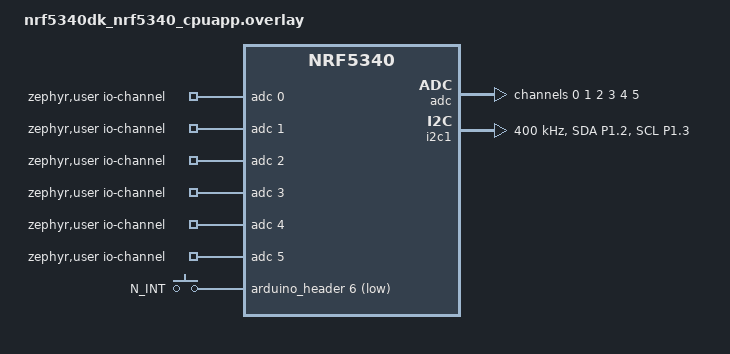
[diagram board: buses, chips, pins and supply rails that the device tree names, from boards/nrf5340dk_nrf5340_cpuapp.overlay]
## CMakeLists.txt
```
# Copyright (c) 2022, Nordic Semiconductor ASA
# All rights reserved.
#
# SPDX-License-Identifier: BSD-3-Clause
#
# Redistribution and use in source and binary forms, with or without
# modification, are permitted provided that the following conditions are met:
#
# 1. Redistributions of source code must retain the above copyright notice, this
#    list of conditions and the following disclaimer.
#
# 2. Redistributions in binary form must reproduce the above copyright
#    notice, this list of conditions and the following disclaimer in the
#    documentation and/or other materials provided with the distribution.
#
# 3. Neither the name of the copyright holder nor the names of its
#    contributors may be used to endorse or promote products derived from this
#    software without specific prior written permission.
#
# THIS SOFTWARE IS PROVIDED BY THE COPYRIGHT HOLDERS AND CONTRIBUTORS "AS IS"
# AND ANY EXPRESS OR IMPLIED WARRANTIES, INCLUDING, BUT NOT LIMITED TO, THE
# IMPLIED WARRANTIES OF MERCHANTABILITY AND FITNESS FOR A PARTICULAR PURPOSE
# ARE DISCLAIMED. IN NO EVENT SHALL THE COPYRIGHT HOLDER OR CONTRIBUTORS BE
# LIABLE FOR ANY DIRECT, INDIRECT, INCIDENTAL, SPECIAL, EXEMPLARY, OR
# CONSEQUENTIAL DAMAGES (INCLUDING, BUT NOT LIMITED TO, PROCUREMENT OF
# SUBSTITUTE GOODS OR SERVICES; LOSS OF USE, DATA, OR PROFITS; OR BUSINESS
# INTERRUPTION) HOWEVER CAUSED AND ON ANY THEORY OF LIABILITY, WHETHER IN
# CONTRACT, STRICT LIABILITY, OR TORT (INCLUDING NEGLIGENCE OR OTHERWISE)
# ARISING IN ANY WAY OUT OF THE USE OF THIS SOFTWARE, EVEN IF ADVISED OF THE
# POSSIBILITY OF SUCH DAMAGE.

cmake_minimum_required(VERSION 3.20.0)

find_package(Zephyr REQUIRED HINTS $ENV{ZEPHYR_BASE})
project(NONE)

# NORDIC SDK APP START
target_sources(app PRIVATE
  src/main.c
)
# NORDIC SDK APP END
```

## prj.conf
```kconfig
CONFIG_ZTEST=y
CONFIG_ZTEST_FAIL_FAST=n

CONFIG_I2C=y
CONFIG_GPIO=y
CONFIG_ADC=y

CONFIG_LIB_NPM6001=y
CONFIG_LIB_NPM6001_C3_WORKAROUND=y
```

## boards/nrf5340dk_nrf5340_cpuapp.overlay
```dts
/ {
	zephyr,user {
		io-channels = <&adc 0>, <&adc 1>, <&adc 2>, <&adc 3>, <&adc 4>, <&adc 5>;
	};
};

&adc {
	#address-cells = <1>;
	#size-cells = <0>;

	channel@0 {
		reg = <0>;
		zephyr,gain = "ADC_GAIN_1_6";
		zephyr,reference = "ADC_REF_INTERNAL";
		zephyr,acquisition-time = <ADC_ACQ_TIME_DEFAULT>;
		zephyr,input-positive = <NRF_SAADC_AIN0>; /* P0.04 */
		zephyr,resolution = <12>;
	};

	channel@1 {
		reg = <1>;
		zephyr,gain = "ADC_GAIN_1_6";
		zephyr,reference = "ADC_REF_INTERNAL";
		zephyr,acquisition-time = <ADC_ACQ_TIME_DEFAULT>;
		zephyr,input-positive = <NRF_SAADC_AIN1>; /* P0.05 */
		zephyr,resolution = <12>;
	};

	channel@2 {
		reg = <2>;
		zephyr,gain = "ADC_GAIN_1_6";
		zephyr,reference = "ADC_REF_INTERNAL";
		zephyr,acquisition-time = <ADC_ACQ_TIME_DEFAULT>;
		zephyr,input-positive = <NRF_SAADC_AIN2>; /* P0.06 */
		zephyr,resolution = <12>;
	};

	channel@3 {
		reg = <3>;
		zephyr,gain = "ADC_GAIN_1_6";
		zephyr,reference = "ADC_REF_INTERNAL";
		zephyr,acquisition-time = <ADC_ACQ_TIME_DEFAULT>;
		zephyr,input-positive = <NRF_SAADC_AIN3>; /* P0.07 */
		zephyr,resolution = <12>;
	};

	channel@4 {
		reg = <4>;
		zephyr,gain = "ADC_GAIN_1_6";
		zephyr,reference = "ADC_REF_INTERNAL";
		zephyr,acquisition-time = <ADC_ACQ_TIME_DEFAULT>;
		zephyr,input-positive = <NRF_SAADC_AIN4>; /* P0.25 */
		zephyr,resolution = <12>;
	};

	channel@5 {
		reg = <5>;
		zephyr,gain = "ADC_GAIN_1_6";
		zephyr,reference = "ADC_REF_INTERNAL";
		zephyr,acquisition-time = <ADC_ACQ_TIME_DEFAULT>;
		zephyr,input-positive = <NRF_SAADC_AIN5>; /* P0.26 */
		zephyr,resolution = <12>;
	};
};

i2c1: &i2c1 {
	compatible = "nordic,nrf-twim";
	status = "okay";

	pinctrl-0 = <&i2c1_default_alt_alt>;
	pinctrl-1 = <&i2c1_sleep_alt_alt>;
	pinctrl-names = "default", "sleep";
	clock-frequency = <400000>;
};

&pinctrl {
	i2c1_default_alt_alt: i2c1_default_alt_alt {
		group1 {
			psels = <NRF_PSEL(TWIM_SDA, 1, 2)>,
				<NRF_PSEL(TWIM_SCL, 1, 3)>;
			nordic,drive-mode = <NRF_DRIVE_S0D1>;
			bias-pull-up;
		};
	};

	i2c1_sleep_alt_alt: i2c1_sleep_alt_alt {
		group1 {
			psels = <NRF_PSEL(TWIM_SDA, 1, 2)>,
				<NRF_PSEL(TWIM_SCL, 1, 3)>;
			nordic,drive-mode = <NRF_DRIVE_S0D1>;
			bias-pull-up;
			low-power-enable;
		};
	};
};

/ {
	npm6001_irq {
		compatible = "gpio-keys";
		n_int_key0: n_int_key_0 {
			gpios = <&arduino_header 6 (GPIO_PULL_UP | GPIO_ACTIVE_LOW)>;	/* D0 */
			label = "N_INT";
		};
	};

	aliases {
		nint = &n_int_key0;
	};
};
```

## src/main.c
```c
/*
 * Copyright (c) 2022, Nordic Semiconductor ASA
 * All rights reserved.
 *
 * SPDX-License-Identifier: BSD-3-Clause
 *
 * Redistribution and use in source and binary forms, with or without
 * modification, are permitted provided that the following conditions are met:
 *
 * 1. Redistributions of source code must retain the above copyright notice, this
 *    list of conditions and the following disclaimer.
 *
 * 2. Redistributions in binary form must reproduce the above copyright
 *    notice, this list of conditions and the following disclaimer in the
 *    documentation and/or other materials provided with the distribution.
 *
 * 3. Neither the name of the copyright holder nor the names of its
 *    contributors may be used to endorse or promote products derived from this
 *    software without specific prior written permission.
 *
 * THIS SOFTWARE IS PROVIDED BY THE COPYRIGHT HOLDERS AND CONTRIBUTORS "AS IS"
 * AND ANY EXPRESS OR IMPLIED WARRANTIES, INCLUDING, BUT NOT LIMITED TO, THE
 * IMPLIED WARRANTIES OF MERCHANTABILITY AND FITNESS FOR A PARTICULAR PURPOSE
 * ARE DISCLAIMED. IN NO EVENT SHALL THE COPYRIGHT HOLDER OR CONTRIBUTORS BE
 * LIABLE FOR ANY DIRECT, INDIRECT, INCIDENTAL, SPECIAL, EXEMPLARY, OR
 * CONSEQUENTIAL DAMAGES (INCLUDING, BUT NOT LIMITED TO, PROCUREMENT OF
 * SUBSTITUTE GOODS OR SERVICES; LOSS OF USE, DATA, OR PROFITS; OR BUSINESS
 * INTERRUPTION) HOWEVER CAUSED AND ON ANY THEORY OF LIABILITY, WHETHER IN
 * CONTRACT, STRICT LIABILITY, OR TORT (INCLUDING NEGLIGENCE OR OTHERWISE)
 * ARISING IN ANY WAY OUT OF THE USE OF THIS SOFTWARE, EVEN IF ADVISED OF THE
 * POSSIBILITY OF SUCH DAMAGE.
 */

#include <zephyr/kernel.h>
#include <zephyr/device.h>
#include <zephyr/devicetree.h>
#include <zephyr/drivers/adc.h>
#include <zephyr/drivers/gpio.h>
#include <zephyr/drivers/i2c.h>
#include <zephyr/sys/printk.h>

#include <hal/nrf_rtc.h>

#include <ztest.h>

#include <lib_npm6001.h>

#define VREG_MEAS_TOLERANCE 50 /* [mV] */

#if !DT_NODE_EXISTS(DT_PATH(zephyr_user)) || \
	!DT_NODE_HAS_PROP(DT_PATH(zephyr_user), io_channels)
#error "No suitable devicetree overlay specified"
#endif

#define DT_SPEC_AND_COMMA(node_id, prop, idx) \
	ADC_DT_SPEC_GET_BY_IDX(node_id, idx),

#define REGULATOR_LIST \
	X(BUCK0) \
	X(BUCK1) \
	X(BUCK2) \
	X(BUCK3) \
	X(LDO0) \
	X(LDO1)

enum vreg_voltage_idx {
#define X(_vreg) VREG_ ## _vreg ## _VOLTAGE,
	REGULATOR_LIST
#undef X
};

const static char *vreg_names[] = {
#define X(_vreg) STRINGIFY(_vreg),
	REGULATOR_LIST
#undef X
};

/* Data of ADC io-channels specified in devicetree. */
static const struct adc_dt_spec adc_channels[] = {
	DT_FOREACH_PROP_ELEM(DT_PATH(zephyr_user), io_channels,
			     DT_SPEC_AND_COMMA)
};

static const struct device *i2c_dev = DEVICE_DT_GET_ONE(nordic_nrf_twim);
static const struct gpio_dt_spec n_int = GPIO_DT_SPEC_GET(DT_ALIAS(nint), gpios);
static struct gpio_callback n_int_callback;

static int lib_npm6001_platform_init(void)
{
	if (i2c_dev == NULL) {
		return -ENODEV;
	}

	return 0;
}

static int lib_npm6001_twi_read(uint8_t *buf, uint8_t len, uint8_t reg_addr)
{
	return i2c_write_read(i2c_dev, LIB_NPM6001_TWI_ADDR,
		&reg_addr, sizeof(reg_addr),
		buf, len);
}

static int lib_npm6001_twi_write(const uint8_t *buf, uint8_t len, uint8_t reg_addr)
{
	struct i2c_msg msgs[] = {
		{.buf = &reg_addr, .len = sizeof(reg_addr), .flags = I2C_MSG_WRITE},
		{.buf = (uint8_t *)buf, .len = len, .flags = I2C_MSG_WRITE | I2C_MSG_STOP},
	};

	return i2c_transfer(i2c_dev, &msgs[0], ARRAY_SIZE(msgs), LIB_NPM6001_TWI_ADDR);
}

static void n_int_irq_handler(const struct device *port,
					struct gpio_callback *cb,
					gpio_port_pins_t pins)
{
	/* */
}

static void test_gpio_init(void)
{
	gpio_flags_t flags = n_int.dt_flags & GPIO_ACTIVE_LOW ? GPIO_PULL_UP : GPIO_PULL_DOWN;
	int err;

	err = gpio_pin_configure_dt(&n_int, GPIO_INPUT | flags);
	zassert_ok(err, "gpio_pin_configure_dt");

	gpio_init_callback(&n_int_callback, n_int_irq_handler, BIT(n_int.pin));

	err = gpio_add_callback(n_int.port, &n_int_callback);
	zassert_ok(err, "gpio_add_callback");

	err = gpio_pin_interrupt_configure_dt(&n_int, GPIO_INT_EDGE_TO_ACTIVE);
	zassert_ok(err, "gpio_pin_interrupt_configure_dt");
}

static void adc_read_all(int32_t *voltages_mv, int voltage_arr_len)
{
	int16_t buf;
	int err;
	struct adc_sequence sequence = {
		.buffer = &buf,
		/* buffer size in bytes, not number of samples */
		.buffer_size = sizeof(buf),
	};

	zassert_equal(voltage_arr_len, ARRAY_SIZE(adc_channels), "Array size mismatch");

	for (int i = 0; i < ARRAY_SIZE(adc_channels); ++i) {
		err = adc_sequence_init_dt(&adc_channels[i], &sequence);
		zassert_ok(err, "adc_sequence_init_dt");

		err = adc_read(adc_channels[i].dev, &sequence);
		zassert_ok(err, "adc_read");

		voltages_mv[i] = buf;
		err = adc_raw_to_millivolts_dt(&adc_channels[i],
							&voltages_mv[i]);
		zassert_ok(err, "adc_read");
	}
}

static void adc_print_values(int32_t *voltages_mv, int voltage_arr_len)
{
	zassert_equal(voltage_arr_len, ARRAY_SIZE(vreg_names), "Array size mismatch");

	for (int i = 0; i < voltage_arr_len; ++i) {
		PRINT("%s=%d mV\n", vreg_names[i], voltages_mv[i]);
	}
}

static void test_adc_init(void)
{
	int err;

	for (int i = 0; i < ARRAY_SIZE(adc_channels); ++i) {
		zassert_true(device_is_ready(adc_channels[i].dev), "ADC not ready");

		err = adc_channel_setup_dt(&adc_channels[i]);
		zassert_ok(err, "adc_channel_setup_dt");
	}

	/* Dirty way to enable pull-down resistors on AIN.
	 * Needed to discharge the nPM6001 output capacitors in a timely manner.
	 */

	for (int i = 0; i < ARRAY_SIZE(NRF_SAADC_S->CH); ++i) {
		NRF_SAADC_S->CH[i].CONFIG &= ~SAADC_CH_CONFIG_RESP_Msk;
		NRF_SAADC_S->CH[i].CONFIG |= (SAADC_CH_CONFIG_RESP_Pulldown << SAADC_CH_CONFIG_RESP_Pos);
	}
}

static void test_lib_npm6001_init_reset(void)
{
	const struct lib_npm6001_platform ncs_hw_funcs = {
		.lib_npm6001_platform_init = lib_npm6001_platform_init,
		.lib_npm6001_twi_read = lib_npm6001_twi_read,
		.lib_npm6001_twi_write = lib_npm6001_twi_write,
	};
	int err;

	err = lib_npm6001_init(&ncs_hw_funcs);
	zassert_ok(err, "Failed to initialize lib");

	/* 4 second watchdog reset */
	err = lib_npm6001_watchdog_enable(1);
	zassert_ok(err, "lib_npm6001_watchdog_enable");

	/* Spin for 5 seconds */
	err = k_sleep(K_SECONDS(5));
	zassert_ok(err, "k_sleep");
}

static void test_lib_npm6001_init(void)
{
	const struct lib_npm6001_platform ncs_hw_funcs = {
		.lib_npm6001_platform_init = lib_npm6001_platform_init,
		.lib_npm6001_twi_read = lib_npm6001_twi_read,
		.lib_npm6001_twi_write = lib_npm6001_twi_write,
	};
	int err;

	err = lib_npm6001_init(&ncs_hw_funcs);
	zassert_ok(err, "Failed to initialize lib");
}

static void test_lib_npm6001_vreg_mode(void)
{
	int err;

	err = lib_npm6001_vreg_buck_mode_set(LIB_NPM6001_BUCK0, LIB_NPM6001_MODE_PWM);
	zassert_ok(err, "BUCK0 mode");
	err = lib_npm6001_vreg_buck_mode_set(LIB_NPM6001_BUCK1, LIB_NPM6001_MODE_PWM);
	zassert_ok(err, "BUCK1 mode");
	err = lib_npm6001_vreg_buck_mode_set(LIB_NPM6001_BUCK2, LIB_NPM6001_MODE_PWM);
	zassert_ok(err, "BUCK2 mode");
	err = lib_npm6001_vreg_buck_mode_set(LIB_NPM6001_BUCK3, LIB_NPM6001_MODE_PWM);
	zassert_ok(err, "BUCK3 mode");

	err = lib_npm6001_vreg_buck_mode_set(LIB_NPM6001_LDO0, LIB_NPM6001_MODE_PWM);
	zassert_equal(err, -EINVAL, "LDO0 mode");
	err = lib_npm6001_vreg_buck_mode_set(LIB_NPM6001_LDO1, LIB_NPM6001_MODE_PWM);
	zassert_equal(err, -EINVAL, "LDO1 mode");
}

static void test_lib_npm6001_vreg_on(void)
{
	int32_t voltages_mv[6];
	int err;

	err = lib_npm6001_vreg_enable(LIB_NPM6001_BUCK3);
	zassert_ok(err, "Failed to enable BUCK3");

	err = lib_npm6001_vreg_enable(LIB_NPM6001_LDO0);
	zassert_ok(err, "Failed to enable LDO0");

	err = lib_npm6001_vreg_enable(LIB_NPM6001_LDO1);
	zassert_ok(err, "Failed to enable LDO1");

	/* Delay for voltages to settle */
	k_msleep(250);
	adc_read_all(voltages_mv, ARRAY_SIZE(voltages_mv));
	adc_print_values(voltages_mv, ARRAY_SIZE(voltages_mv));

	/* Verify default voltages */
	zassert_within(voltages_mv[VREG_BUCK0_VOLTAGE], 1800, VREG_MEAS_TOLERANCE, "BUCK0 default voltage");
	zassert_within(voltages_mv[VREG_BUCK1_VOLTAGE], 800, VREG_MEAS_TOLERANCE, "BUCK1 default voltage");
	zassert_within(voltages_mv[VREG_BUCK2_VOLTAGE], 1200, VREG_MEAS_TOLERANCE, "BUCK2 default voltage");
	zassert_within(voltages_mv[VREG_BUCK3_VOLTAGE], 500, VREG_MEAS_TOLERANCE, "BUCK3 default voltage");
	zassert_within(voltages_mv[VREG_LDO0_VOLTAGE], 3000, VREG_MEAS_TOLERANCE, "LDO0 default voltage");
	zassert_within(voltages_mv[VREG_LDO1_VOLTAGE], 1800, VREG_MEAS_TOLERANCE, "LDO1 default voltage");
}

static void test_lib_npm6001_vreg_off(void)
{
	int32_t voltages[6];
	int32_t voltages_after_delay[6];
	int voltage_rate[6];
	int err;

	err = lib_npm6001_vreg_disable(LIB_NPM6001_BUCK1);
	zassert_ok(err, "Failed to disable BUCK1");

	err = lib_npm6001_vreg_disable(LIB_NPM6001_BUCK2);
	zassert_ok(err, "Failed to disable BUCK2");

	err = lib_npm6001_vreg_disable(LIB_NPM6001_BUCK3);
	zassert_ok(err, "Failed to disable BUCK3");

	err = lib_npm6001_vreg_disable(LIB_NPM6001_LDO0);
	zassert_ok(err, "Failed to disable LDO0");

	err = lib_npm6001_vreg_disable(LIB_NPM6001_LDO1);
	zassert_ok(err, "Failed to disable LDO1");

	err = lib_npm6001_vreg_disable(LIB_NPM6001_BUCK0);
	zassert_equal(err, -EINVAL, "BUCK0 cannot be turned off");

	/* It can take a while for voltages to discharge.
	 * Instead of waiting for several minutes,
	 * verify that the voltage is indeed dropping at a reasonable rate.
	 */

	adc_read_all(voltages, ARRAY_SIZE(voltages));

	/* Delay for voltages to drop */
	k_msleep(3000);

	adc_read_all(voltages_after_delay, ARRAY_SIZE(voltages_after_delay));

	for (int i = 0; i < ARRAY_SIZE(voltages); ++i) {
		voltage_rate[i] = (voltages_after_delay[i] - voltages[i]);
		PRINT("voltage_rate[%d]=%d\n", i, voltage_rate[i]);
	}
	
	zassert_true(voltage_rate[VREG_BUCK1_VOLTAGE] < -VREG_MEAS_TOLERANCE, "BUCK1 voltage drop rate too slow");
	zassert_true(voltage_rate[VREG_BUCK2_VOLTAGE] < -VREG_MEAS_TOLERANCE, "BUCK2 voltage drop rate too slow");
	zassert_true(voltage_rate[VREG_BUCK3_VOLTAGE] < -VREG_MEAS_TOLERANCE, "BUCK3 voltage drop rate too slow");
	zassert_true(voltage_rate[VREG_LDO0_VOLTAGE] < -VREG_MEAS_TOLERANCE, "LDO0 voltage drop rate too slow");
	zassert_true(voltage_rate[VREG_LDO1_VOLTAGE] < -VREG_MEAS_TOLERANCE, "LDO1 voltage drop rate too slow");
}

static void test_lib_npm6001_vreg_adjust(void)
{
	int32_t voltages_mv[6];
	int err;

	/* Set invalid voltages */
	err = lib_npm6001_vreg_voltage_set(LIB_NPM6001_BUCK0, 0);
	zassert_equal(err, -EINVAL, "Invalid voltage selection");
	err = lib_npm6001_vreg_voltage_set(LIB_NPM6001_BUCK0, 5000);
	zassert_equal(err, -EINVAL, "Invalid voltage selection");
	err = lib_npm6001_vreg_voltage_set(LIB_NPM6001_BUCK1, 0);
	zassert_equal(err, -EINVAL, "Invalid voltage selection");
	err = lib_npm6001_vreg_voltage_set(LIB_NPM6001_BUCK1, 5000);
	zassert_equal(err, -EINVAL, "Invalid voltage selection");
	err = lib_npm6001_vreg_voltage_set(LIB_NPM6001_BUCK2, 0);
	zassert_equal(err, -EINVAL, "Invalid voltage selection");
	err = lib_npm6001_vreg_voltage_set(LIB_NPM6001_BUCK2, 5000);
	zassert_equal(err, -EINVAL, "Invalid voltage selection");
	err = lib_npm6001_vreg_voltage_set(LIB_NPM6001_BUCK3, 0);
	zassert_equal(err, -EINVAL, "Invalid voltage selection");
	err = lib_npm6001_vreg_voltage_set(LIB_NPM6001_BUCK3, 5000);
	zassert_equal(err, -EINVAL, "Invalid voltage selection");
	err = lib_npm6001_vreg_voltage_set(LIB_NPM6001_LDO0, 0);
	zassert_equal(err, -EINVAL, "Invalid voltage selection");
	err = lib_npm6001_vreg_voltage_set(LIB_NPM6001_LDO0, 5000);
	zassert_equal(err, -EINVAL, "Invalid voltage selection");
	err = lib_npm6001_vreg_voltage_set(LIB_NPM6001_LDO1, 0);
	zassert_equal(err, -EINVAL, "Invalid voltage selection");
	err = lib_npm6001_vreg_voltage_set(LIB_NPM6001_LDO1, 5000);
	zassert_equal(err, -EINVAL, "Invalid voltage selection");

	const uint16_t buck0_mv = 1900;
	const uint16_t buck1_mv = 700;
	const uint16_t buck2_mv = 1250;
	const uint16_t buck3_mv = 500;
	const uint16_t ldo0_mv = 2700;

	/* Set valid voltages */
	err = lib_npm6001_vreg_voltage_set(LIB_NPM6001_BUCK0, buck0_mv);
	zassert_ok(err, "Invalid voltage selection");
	err = lib_npm6001_vreg_voltage_set(LIB_NPM6001_BUCK1, buck1_mv);
	zassert_ok(err, "Invalid voltage selection");
	err = lib_npm6001_vreg_voltage_set(LIB_NPM6001_BUCK2, buck2_mv);
	zassert_ok(err, "Invalid voltage selection");
	err = lib_npm6001_vreg_voltage_set(LIB_NPM6001_BUCK3, buck3_mv);
	zassert_ok(err, "Invalid voltage selection");
	err = lib_npm6001_vreg_voltage_set(LIB_NPM6001_LDO0, ldo0_mv);
	zassert_ok(err, "Invalid voltage selection");

	/* Delay for voltages to settle */
	k_msleep(1000);
	adc_read_all(voltages_mv, ARRAY_SIZE(voltages_mv));
	adc_print_values(voltages_mv, ARRAY_SIZE(voltages_mv));

	/* Verify voltages */
	zassert_within(voltages_mv[VREG_BUCK0_VOLTAGE], buck0_mv, VREG_MEAS_TOLERANCE, "BUCK0 voltage");
	zassert_within(voltages_mv[VREG_BUCK1_VOLTAGE], buck1_mv, VREG_MEAS_TOLERANCE, "BUCK1 voltage");
	zassert_within(voltages_mv[VREG_BUCK2_VOLTAGE], buck2_mv, VREG_MEAS_TOLERANCE, "BUCK2 voltage");
	zassert_within(voltages_mv[VREG_BUCK3_VOLTAGE], buck3_mv, VREG_MEAS_TOLERANCE, "BUCK3 voltage");
	zassert_within(voltages_mv[VREG_LDO0_VOLTAGE], ldo0_mv, VREG_MEAS_TOLERANCE, "LDO0 voltage");
}

static void test_lib_npm6001_watchdog_reset(void)
{
	const uint16_t buck0_mv = 2500;
	int32_t voltages_mv[6];
	int err;

	/* Set BUCK0 voltage to non-default value */
	err = lib_npm6001_vreg_voltage_set(LIB_NPM6001_BUCK0, buck0_mv);
	zassert_ok(err, "Invalid voltage selection");

	/* Delay for voltages to settle */
	k_msleep(500);
	adc_read_all(voltages_mv, ARRAY_SIZE(voltages_mv));

	/* Verify voltage */
	zassert_within(voltages_mv[LIB_NPM6001_BUCK0], buck0_mv, VREG_MEAS_TOLERANCE, "BUCK0 voltage");

	/* 4 second watchdog reset */
	err = lib_npm6001_watchdog_enable(1);
	zassert_ok(err, "lib_npm6001_watchdog_enable");

	/* Spin for 5 seconds */
	k_sleep(K_SECONDS(5));

	adc_read_all(voltages_mv, ARRAY_SIZE(voltages_mv));

	/* Verify BUCK0 voltage is back to default */
	zassert_within(voltages_mv[LIB_NPM6001_BUCK0], 1800, VREG_MEAS_TOLERANCE, "BUCK0 voltage");
}

void test_main(void)
{
	ztest_test_suite(test_lib_npm6001,
			ztest_unit_test(test_gpio_init),
			ztest_unit_test(test_adc_init),
			ztest_unit_test(test_lib_npm6001_init_reset),
			ztest_unit_test(test_lib_npm6001_init),
			ztest_unit_test(test_lib_npm6001_vreg_mode),
			ztest_unit_test(test_lib_npm6001_vreg_on),
			ztest_unit_test(test_lib_npm6001_vreg_adjust),
			ztest_unit_test(test_lib_npm6001_vreg_off),
			ztest_unit_test(test_lib_npm6001_watchdog_reset)
	);

	ztest_run_test_suite(test_lib_npm6001);
}
```
